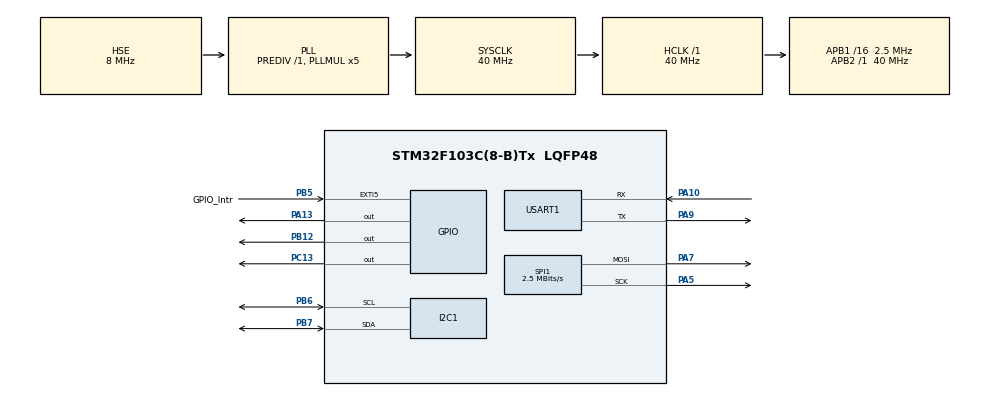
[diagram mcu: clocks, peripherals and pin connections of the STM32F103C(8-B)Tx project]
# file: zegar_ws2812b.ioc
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Mcu.Family=STM32F1
Mcu.Name=STM32F103C(8-B)Tx
Mcu.Package=LQFP48
NVIC.EXTI9_5_IRQn=true\:0\:0\:false\:false\:true\:true
NVIC.I2C1_EV_IRQn=true\:0\:0\:false\:false\:true\:true
NVIC.PriorityGroup=NVIC_PRIORITYGROUP_4
NVIC.SPI1_IRQn=true\:0\:0\:false\:false\:true\:true
NVIC.USART1_IRQn=true\:0\:0\:false\:false\:true\:true
PA10.Mode=Asynchronous
PA10.Signal=USART1_RX
PA13.GPIO_ModeDefaultOutputPP=GPIO_MODE_OUTPUT_OD
PA13.GPIO_Speed=GPIO_SPEED_FREQ_HIGH
PA13.Signal=GPIO_Output
PA5.Mode=TX_Only_Simplex_Unidirect_Master
PA5.Signal=SPI1_SCK
PA7.Mode=TX_Only_Simplex_Unidirect_Master
PA7.Signal=SPI1_MOSI
PA9.GPIO_Mode=GPIO_MODE_AF_PP
PA9.GPIO_Speed=GPIO_SPEED_FREQ_LOW
PA9.Mode=Asynchronous
PA9.Signal=USART1_TX
PB12.GPIO_ModeDefaultOutputPP=GPIO_MODE_OUTPUT_OD
PB12.GPIO_Speed=GPIO_SPEED_FREQ_HIGH
PB12.Signal=GPIO_Output
PB5.GPIO_Label=GPIO_Intr
PB5.GPIO_ModeDefaultEXTI=GPIO_MODE_IT_RISING_FALLING
PB5.GPIO_PuPd=GPIO_NOPULL
PB5.Signal=GPXTI5
PB6.GPIO_Mode=GPIO_MODE_AF_OD
PB6.GPIO_Speed=GPIO_SPEED_FREQ_HIGH
PB6.Mode=I2C
PB6.Signal=I2C1_SCL
PB7.GPIO_Mode=GPIO_MODE_AF_OD
PB7.GPIO_Speed=GPIO_SPEED_FREQ_HIGH
PB7.Mode=I2C
PB7.Signal=I2C1_SDA
PC13-TAMPER-RTC.Signal=GPIO_Output
PD0-OSC_IN.Mode=HSE-External-Oscillator
PD0-OSC_IN.Signal=RCC_OSC_IN
PD1-OSC_OUT.Mode=HSE-External-Oscillator
PD1-OSC_OUT.Signal=RCC_OSC_OUT
ProjectManager.HeapSize=0x200
ProjectManager.StackSize=0x400
ProjectManager.TargetToolchain=SW4STM32
RCC.AHBFreq_Value=40000000
RCC.APB1CLKDivider=RCC_HCLK_DIV16
RCC.APB1Freq_Value=2500000
RCC.APB1TimFreq_Value=5000000
RCC.APB2Freq_Value=40000000
RCC.APB2TimFreq_Value=40000000
RCC.HCLKFreq_Value=40000000
RCC.LSE_VALUE=32768
RCC.PLLMUL=RCC_PLL_MUL5
RCC.PLLSourceVirtual=RCC_PLLSOURCE_HSE
RCC.RTCClockSelection=RCC_RTCCLKSOURCE_LSE
RCC.SYSCLKFreq_VALUE=40000000
RCC.SYSCLKSource=RCC_SYSCLKSOURCE_PLLCLK
RCC.USBFreq_Value=40000000
SPI1.BaudRatePrescaler=SPI_BAUDRATEPRESCALER_16
SPI1.CalculateBaudRate=2.5 MBits/s
SPI1.Direction=SPI_DIRECTION_2LINES
SPI1.Mode=SPI_MODE_MASTER
SPI1.VirtualType=VM_MASTER
USART1.Parity=PARITY_EVEN
USART1.VirtualMode=VM_ASYNC
USART1.WordLength=WORDLENGTH_9B
VP_SYS_VS_ND.Mode=No_Debug
board=custom

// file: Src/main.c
/**
  ******************************************************************************
  * @file           : main.c
  * @brief          : Main program body
  ******************************************************************************
  ** This notice applies to any and all portions of this file
  * that are not between comment pairs USER CODE BEGIN and
  * USER CODE END. Other portions of this file, whether
  * inserted by the user or by software development tools
  * are owned by their respective copyright owners.
  *
  * COPYRIGHT(c) 2020 STMicroelectronics
  *
  * Redistribution and use in source and binary forms, with or without modification,
  * are permitted provided that the following conditions are met:
  *   1. Redistributions of source code must retain the above copyright notice,
  *      this list of conditions and the following disclaimer.
  *   2. Redistributions in binary form must reproduce the above copyright notice,
  *      this list of conditions and the following disclaimer in the documentation
  *      and/or other materials provided with the distribution.
  *   3. Neither the name of STMicroelectronics nor the names of its contributors
  *      may be used to endorse or promote products derived from this software
  *      without specific prior written permission.
  *
  * THIS SOFTWARE IS PROVIDED BY THE COPYRIGHT HOLDERS AND CONTRIBUTORS "AS IS"
  * AND ANY EXPRESS OR IMPLIED WARRANTIES, INCLUDING, BUT NOT LIMITED TO, THE
  * IMPLIED WARRANTIES OF MERCHANTABILITY AND FITNESS FOR A PARTICULAR PURPOSE ARE
  * DISCLAIMED. IN NO EVENT SHALL THE COPYRIGHT HOLDER OR CONTRIBUTORS BE LIABLE
  * FOR ANY DIRECT, INDIRECT, INCIDENTAL, SPECIAL, EXEMPLARY, OR CONSEQUENTIAL
  * DAMAGES (INCLUDING, BUT NOT LIMITED TO, PROCUREMENT OF SUBSTITUTE GOODS OR
  * SERVICES; LOSS OF USE, DATA, OR PROFITS; OR BUSINESS INTERRUPTION) HOWEVER
  * CAUSED AND ON ANY THEORY OF LIABILITY, WHETHER IN CONTRACT, STRICT LIABILITY,
  * OR TORT (INCLUDING NEGLIGENCE OR OTHERWISE) ARISING IN ANY WAY OUT OF THE USE
  * OF THIS SOFTWARE, EVEN IF ADVISED OF THE POSSIBILITY OF SUCH DAMAGE.
  *
  ******************************************************************************
  */
#include "main.h"
#include "stm32f1xx_hal.h"

/* USER CODE BEGIN Includes */
#include "stm_dht22.h"
#include <math.h>
#define WIDTH 5
#define HEIGHT 9
#define NUM_OF_MOD 4
/* USER CODE END Includes */

I2C_HandleTypeDef hi2c1;

SPI_HandleTypeDef hspi1;

UART_HandleTypeDef huart1;

/* USER CODE BEGIN PV */
/* Private variables ---------------------------------------------------------*/
uint8_t mode = 1;
uint8_t Przetworzoned = 1;
uint8_t buffer[WIDTH*HEIGHT*NUM_OF_MOD*24];
//uint8_t zero = 0b11100000;
//uint8_t one = 0b11111000;
uint8_t zero = 0b100;
uint8_t one = 0b110;
uint8_t jx = 0;
uint8_t wh = 1;
uint8_t hours;
uint8_t minutes;
uint8_t i2cbuf[3] = {0xFF, 0x06, 0x80};
uint8_t i2cbuf1 = 0x00;
uint8_t i2cbuf2 = 0xFF;
uint8_t i2cbuf3 = 0x06;
uint8_t i2cbufmin = 0x38;
uint8_t i2cbufh = 0x20;
uint8_t started = 0;
uint8_t intr = 0;
uint8_t klikacz = 0;
uint8_t klikaczToggle = 0;
char *godzina;
char str[4];
double bright = 1;
double globH = 0;
double globS = 1;
double globV = 0.05;
uint8_t Received[6] = {'0', '0', '0', '0', '0', '0'};
uint8_t rrr;
const uint8_t font[] = {
		0, 0, 0, 0, 0, 0, 0, 0, 0, // space
		4, 4, 4, 4, 0, 0, 4, 0, 0, // "!"
		10, 10, 10, 0, 0, 0, 0, 0, 0, // " " "
		10, 10, 31, 10, 31, 10, 10, 0, 0, // "#"
		4, 15, 20, 14, 5, 30, 4, 0, 0, // "$"
		24, 25, 2, 4, 8, 19, 3, 0, 0, // "%"
		12, 18, 20, 8, 21, 18, 13, 0, 0, // "&"
		12, 4, 8, 0, 0, 0, 0, 0, 0, // "'"
		2, 4, 8, 8, 8, 4, 2, 0, 0, // "("
		8, 4, 2, 2, 2, 4, 8, 0, 0, // ")"
		0, 4, 21, 14, 21, 4, 0, 0, 0, // "*"
		0, 4, 4, 31, 4, 4, 0, 0, 0, // "+"
		0, 0, 0, 0, 12, 4, 8, 0, 0, // ","
		0, 0, 0, 31, 0, 0, 0, 0, 0, // "-"
		0, 0, 0, 0, 0, 12, 12, 0, 0, // "."
		0, 1, 2, 4, 8, 16, 0, 0, 0, // "/"
		14, 17, 19, 21, 25, 17, 14, 0, 0, // "0"
		4, 12, 4, 4, 4, 4, 14, 0, 0, // "1"
		14, 17, 1, 2, 4, 8, 31, 0, 0, // "2"
		31, 2, 4, 2, 1, 17, 14, 0, 0, // "3"
		2, 6, 10, 18, 31, 2, 2, 0, 0, // "4"
		31, 16, 30, 1, 1, 17, 14, 0, 0, // "5"
		6, 8, 16, 30, 17, 17, 14, 0, 0, // "6"
		31, 1, 2, 4, 8, 8, 8, 0, 0, // "7"
		14, 17, 17, 14, 17, 17, 14, 0, 0, // "8"
		14, 17, 17, 15, 1, 2, 12, 0, 0, // "9"
		31, 31, 31, 31, 31, 31, 31, 0, 0, // fill 26, 58
		12, 18, 18, 12, 0, 0, 0, 0, 0, //degree 27, 59
		14, 17, 16, 16, 16, 17, 14, 0, 0//"C" 28, 60
};
/* USER CODE END PV */

void SystemClock_Config(void);
static void MX_GPIO_Init(void);
static void MX_SPI1_Init(void);
static void MX_USART1_UART_Init(void);
static void MX_I2C1_Init(void);

/* USER CODE BEGIN PFP */
/* Private function prototypes -----------------------------------------------*/
void ustawbufor (uint8_t led, uint8_t red, uint8_t green, uint8_t blue);
void wyslij();
int ledpos(uint8_t x, uint8_t y, uint8_t m);
void printchar(uint8_t chr, uint8_t m);
void printstring(char *str);
void getRTC(char *str);
void czyscbufor();
void przejscie1(double h, double s, double v, char *oldstr, char *newstr);
void fill(double h, double s, double v);
void send_string(char* s);
struct RGB
{
	unsigned char R;
	unsigned char G;
	unsigned char B;
};

struct HSV
{
	double H;
	double S;
	double V;
};

struct RGB HSVToRGB(struct HSV hsv) {
	double r = 0, g = 0, b = 0;

	if (hsv.S == 0)
	{
		r = hsv.V;
		g = hsv.V;
		b = hsv.V;
	}
	else
	{
		int i;
		double f, p, q, t;
		if (hsv.H > 360)
			hsv.H = hsv.H - 360;
		if (hsv.H == 360)
			hsv.H = 0;
		else
			hsv.H = hsv.H / 60;

		i = (int)trunc(hsv.H);
		f = hsv.H - i;

		p = hsv.V * (1.0 - hsv.S);
		q = hsv.V * (1.0 - (hsv.S * f));
		t = hsv.V * (1.0 - (hsv.S * (1.0 - f)));

		switch (i)
		{
		case 0:
			r = hsv.V;
			g = t;
			b = p;
			break;

		case 1:
			r = q;
			g = hsv.V;
			b = p;
			break;

		case 2:
			r = p;
			g = hsv.V;
			b = t;
			break;

		case 3:
			r = p;
			g = q;
			b = hsv.V;
			break;

		case 4:
			r = t;
			g = p;
			b = hsv.V;
			break;

		default:
			r = hsv.V;
			g = p;
			b = q;
			break;
		}

	}

	struct RGB rgb;
	rgb.R = r * 255;
	rgb.G = g * 255;
	rgb.B = b * 255;

	return rgb;
}
void HAL_GPIO_EXTI_Callback(uint16_t GPIO_Pin){
	if (GPIO_Pin == GPIO_Intr_Pin){
		//intr = 1;
	}
}
void HAL_UART_RxCpltCallback(UART_HandleTypeDef *huart){

	if(Przetworzoned <= Received[1] && Received[0] == 0){
	Przetworzoned = Received[1] + 1;
	}else if(Received[0] == 1){
	send_string("STM32F103C8T6");
		uint8_t aaaaaaaa[] = { 's', 't','m'};
	HAL_UART_Transmit(&huart1, aaaaaaaa, 3, 1000);
	}else if(Received[0] == 2){
		mode = Received[1];
	}else if(Received[0] == 3){
		float rcv = Received[1];
		globV = rcv * 0.01;
	}

		HAL_UART_Receive_IT(&huart1, &rrr, 1);
}
/* USER CODE END PFP */

int main(void)
{

  /* MCU Configuration----------------------------------------------------------*/

  /* Reset of all peripherals, Initializes the Flash interface and the Systick. */
  HAL_Init();

  /* Configure the system clock */
  SystemClock_Config();

  /* Initialize all configured peripherals */
  MX_GPIO_Init();
  MX_SPI1_Init();
  MX_USART1_UART_Init();
  MX_I2C1_Init();
  /* USER CODE BEGIN 2 */
  //DWT_COUNTER_ENABLE();
  HAL_I2C_Mem_Write(&hi2c1, 0xD0, 0x0B, 1, &i2cbuf2, 1, 1000);
  HAL_I2C_Mem_Write(&hi2c1, 0xD0, 0x0C, 1, &i2cbuf2, 1, 1000);
  HAL_I2C_Mem_Write(&hi2c1, 0xD0, 0x0D, 1, &i2cbuf2, 1, 1000);
  HAL_I2C_Mem_Write(&hi2c1, 0xD0, 0x0E, 1, &i2cbuf3, 1, 1000);
  HAL_I2C_Mem_Write(&hi2c1, 0xD0, 0x0F, 1, &i2cbuf1, 1, 1000);
// HAL_I2C_Mem_Write(&hi2c1, 0xD0, 0x01, 1, &i2cbufmin, 1, 1000);
 // HAL_I2C_Mem_Write(&hi2c1, 0xD0, 0x02, 1, &i2cbufh, 1, 1000);
  getRTC(&str);
  for(uint8_t j = 0; j<180; j++){
		  struct HSV data = { 0, globS, globV};
		  struct RGB value = HSVToRGB(data);
		  ustawbufor(j, value.R, value.G, value.B);

  }
  DWT_COUNTER_ENABLE();
 uint8_t rawReadedData[5];
 Dht22_ReadedData_T DHTReadData;

 Dht22_Initial();
char put[5];
char putt[5];
int abcc;
int abccc;

		if(Dht22_ReadData(rawReadedData, sizeof(rawReadedData)))
 		{
 			float abc = Dht22_calculateTemperature(rawReadedData[2], rawReadedData[1]);
 			abcc = (int)abc;
 			snprintf(put, 5, "%d%c%c", abcc, 59, 60);
 		}
  printstring(put);
  wyslij();
  HAL_Delay(2000);
  started = 1;
  HAL_UART_Receive_IT(&huart1, &Received, 2);

  /* USER CODE END 2 */

  /* Infinite loop */
  /* USER CODE BEGIN WHILE */
  while (1)
  {

//	  HAL_Delay(1000);
//	  HAL_UART_Transmit(&huart1, (uint8_t*)data, strlen(data), 1000);

//	  for (uint8_t i = 0; i < 359; i++){
//		  for(uint8_t j = 0; j < 5; j++){
//			  for(uint8_t k = 0; k < 4; k++){
//				  struct HSV data = { i+((j+k)*6), 1, bright};
//				  struct RGB value = HSVToRGB(data);
//				  ustawbufor(ledpos(j, 0, k), value.R, value.G, value.B);
//			  }
//		  }
//		  wyslij();
//	  }
if (mode){
	/*if(1){
		HAL_I2C_Mem_Write(&hi2c1, 0xD0, 0x0F, 1, &i2cbuf1, 1, 1000);
			  	char newStr[4];
			  	getRTC(&newStr);
			  	przejscie1(globH, globS, globV, &str, &newStr);
			  	intr = 0;

	}*/
	if(Dht22_ReadData(rawReadedData, sizeof(rawReadedData)))
		{
			char pute[5];
			float abc = Dht22_calculateTemperature(rawReadedData[2], rawReadedData[1]);
			abcc = (int)abc;
			snprintf(pute, 5, "%d%c%c", abcc, 59, 60);
			//HAL_UART_Transmit(&huart1, (uint8_t*)pute, strlen(pute), 1000);
			przejscie1(globH, globS, globV, &str, &pute);
			snprintf(pute, 5, "T%d", abcc);
			send_string(pute);
		}
for(globH = 0; globH<360; globH += 1){

	if(globV>0.02){
	  for(uint8_t j = 0; j<180; j++){
			  struct HSV data = { globH, globS, globV};
			  struct RGB value = HSVToRGB(data);
			  ustawbufor(j, value.R, value.G, value.B);

	  }
	}
	else
	{
		  for(uint8_t j = 0; j<180; j++){
				  ustawbufor(j, 1, 0, 0);

		  }

	}
	  printstring(str);
	  /*if(klikacz<20){
		  struct HSV data = { globH, globS, 0};
		  struct RGB value = HSVToRGB(data);
		  ustawbufor(ledpos(0, 7, 2), value.R, value.G, value.B);
	  }else{
		  struct HSV data = { globH, globS, globV};
		  struct RGB value = HSVToRGB(data);
		  ustawbufor(ledpos(0, 7, 2), value.R, value.G, value.B);
		  if(klikacz>40)klikacz=0;
	  }
	  klikacz++;*/
	  wyslij();
	  if (intr){
	  	HAL_I2C_Mem_Write(&hi2c1, 0xD0, 0x0F, 1, &i2cbuf1, 1, 1000);
	  	char newStr[4];
	  	getRTC(&newStr);
	  	przejscie1(globH, globS, globV, &str, &newStr);
	  	intr = 0;
	  }
}

if(Dht22_ReadData(rawReadedData, sizeof(rawReadedData)))
	{
		char pute[5];
		float abc = Dht22_calculateHumidity(rawReadedData[4], rawReadedData[3]);
		abcc = (int)abc;
		snprintf(pute, 5, "%d%c%c", abcc, 37, 32);
		przejscie1(globH, globS, globV, &str, &pute);
		snprintf(pute, 5, "H%d", abcc);
		send_string(pute);
	}
for(globH = 0; globH<360; globH += 1){

	if(globV>0.02){
	  for(uint8_t j = 0; j<180; j++){
			  struct HSV data = { globH, globS, globV};
			  struct RGB value = HSVToRGB(data);
			  ustawbufor(j, value.R, value.G, value.B);

	  }
	}
	else
	{
		  for(uint8_t j = 0; j<180; j++){
				  ustawbufor(j, 1, 0, 0);

		  }

	}
	  printstring(str);
	  wyslij();

}

}
else
{
	  if(Przetworzoned > 0){
		  //jx++;
		 // if(jx == 3){
			  Przetworzoned--;
			//  jx=0;
		 // }
		  struct HSV data = { 100-Przetworzoned, globS, globV};
		  struct RGB value = HSVToRGB(data);
		  for (int i = 0; i<180; i++){
		  ustawbufor(i, value.R, value.G, value.B);
		  }
		  printstring(str);
		  wyslij();
		  if (intr){
		  	HAL_I2C_Mem_Write(&hi2c1, 0xD0, 0x0F, 1, &i2cbuf1, 1, 1000);
		  	char newStr[4];
		  	getRTC(&str);
		  	intr = 0;
}
	  }
}
  }
}

//	  for(uint8_t i = 0; i < 180; i++){
//		  struct HSV data = { i, 1, bright};
//		  struct RGB value = HSVToRGB(data);
//		  ustawbufor(i, value.R, value.G, value.B);
//	  }
//		  wyslij();
//	  for(uint8_t i = 0; i<360; i++){
//		  for(uint8_t k = 0; k < 9; k++){
//		  for(uint8_t j = 0; j<180; j++){
//				  struct HSV data = { i, 1, 0.3};
//				  struct RGB value = HSVToRGB(data);
//				  ustawbufor(j, value.R, value.G, value.B);
//
//		  }
//		 // printchar((hours & 15)+16, 0);
//		 // printchar((hours >> 4)+16, 1);
//		 // printchar((minutes & 15)+16, 2);
//		 // printchar(((minutes >> 4) & 3)+16, 3);
//		  printstring(str);
//		  wyslij();
//	  }
//	  }
  /* USER CODE END WHILE */

void SystemClock_Config(void)
{

  RCC_OscInitTypeDef RCC_OscInitStruct;
  RCC_ClkInitTypeDef RCC_ClkInitStruct;

    /**Initializes the CPU, AHB and APB busses clocks
    */
  RCC_OscInitStruct.OscillatorType = RCC_OSCILLATORTYPE_HSE;
  RCC_OscInitStruct.HSEState = RCC_HSE_ON;
  RCC_OscInitStruct.HSEPredivValue = RCC_HSE_PREDIV_DIV1;
  RCC_OscInitStruct.HSIState = RCC_HSI_ON;
  RCC_OscInitStruct.PLL.PLLState = RCC_PLL_ON;
  RCC_OscInitStruct.PLL.PLLSource = RCC_PLLSOURCE_HSE;
  RCC_OscInitStruct.PLL.PLLMUL = RCC_PLL_MUL5;
  if (HAL_RCC_OscConfig(&RCC_OscInitStruct) != HAL_OK)
  {
    _Error_Handler(__FILE__, __LINE__);
  }

    /**Initializes the CPU, AHB and APB busses clocks
    */
  RCC_ClkInitStruct.ClockType = RCC_CLOCKTYPE_HCLK|RCC_CLOCKTYPE_SYSCLK
                              |RCC_CLOCKTYPE_PCLK1|RCC_CLOCKTYPE_PCLK2;
  RCC_ClkInitStruct.SYSCLKSource = RCC_SYSCLKSOURCE_PLLCLK;
  RCC_ClkInitStruct.AHBCLKDivider = RCC_SYSCLK_DIV1;
  RCC_ClkInitStruct.APB1CLKDivider = RCC_HCLK_DIV16;
  RCC_ClkInitStruct.APB2CLKDivider = RCC_HCLK_DIV1;

  if (HAL_RCC_ClockConfig(&RCC_ClkInitStruct, FLASH_LATENCY_1) != HAL_OK)
  {
    _Error_Handler(__FILE__, __LINE__);
  }

    /**Configure the Systick interrupt time
    */
  HAL_SYSTICK_Config(HAL_RCC_GetHCLKFreq()/1000);

    /**Configure the Systick
    */
  HAL_SYSTICK_CLKSourceConfig(SYSTICK_CLKSOURCE_HCLK);

  /* SysTick_IRQn interrupt configuration */
  HAL_NVIC_SetPriority(SysTick_IRQn, 0, 0);
}

/* I2C1 init function */
static void MX_I2C1_Init(void)
{

  hi2c1.Instance = I2C1;
  hi2c1.Init.ClockSpeed = 100000;
  hi2c1.Init.DutyCycle = I2C_DUTYCYCLE_2;
  hi2c1.Init.OwnAddress1 = 0;
  hi2c1.Init.AddressingMode = I2C_ADDRESSINGMODE_7BIT;
  hi2c1.Init.DualAddressMode = I2C_DUALADDRESS_DISABLE;
  hi2c1.Init.OwnAddress2 = 0;
  hi2c1.Init.GeneralCallMode = I2C_GENERALCALL_DISABLE;
  hi2c1.Init.NoStretchMode = I2C_NOSTRETCH_DISABLE;
  if (HAL_I2C_Init(&hi2c1) != HAL_OK)
  {
    _Error_Handler(__FILE__, __LINE__);
  }

}

/* SPI1 init function */
static void MX_SPI1_Init(void)
{

  /* SPI1 parameter configuration*/
  hspi1.Instance = SPI1;
  hspi1.Init.Mode = SPI_MODE_MASTER;
  hspi1.Init.Direction = SPI_DIRECTION_2LINES;
  hspi1.Init.DataSize = SPI_DATASIZE_8BIT;
  hspi1.Init.CLKPolarity = SPI_POLARITY_LOW;
  hspi1.Init.CLKPhase = SPI_PHASE_1EDGE;
  hspi1.Init.NSS = SPI_NSS_SOFT;
  hspi1.Init.BaudRatePrescaler = SPI_BAUDRATEPRESCALER_16;
  hspi1.Init.FirstBit = SPI_FIRSTBIT_MSB;
  hspi1.Init.TIMode = SPI_TIMODE_DISABLE;
  hspi1.Init.CRCCalculation = SPI_CRCCALCULATION_DISABLE;
  hspi1.Init.CRCPolynomial = 10;
  if (HAL_SPI_Init(&hspi1) != HAL_OK)
  {
    _Error_Handler(__FILE__, __LINE__);
  }

}

/* USART1 init function */
static void MX_USART1_UART_Init(void)
{

  huart1.Instance = USART1;
  huart1.Init.BaudRate = 115200;
  huart1.Init.WordLength = UART_WORDLENGTH_9B;
  huart1.Init.StopBits = UART_STOPBITS_1;
  huart1.Init.Parity = UART_PARITY_EVEN;
  huart1.Init.Mode = UART_MODE_TX_RX;
  huart1.Init.HwFlowCtl = UART_HWCONTROL_NONE;
  huart1.Init.OverSampling = UART_OVERSAMPLING_16;
  if (HAL_UART_Init(&huart1) != HAL_OK)
  {
    _Error_Handler(__FILE__, __LINE__);
  }

}

/** Configure pins as
        * Analog
        * Input
        * Output
        * EVENT_OUT
        * EXTI
*/
static void MX_GPIO_Init(void)
{

  GPIO_InitTypeDef GPIO_InitStruct;

  /* GPIO Ports Clock Enable */
  __HAL_RCC_GPIOC_CLK_ENABLE();
  __HAL_RCC_GPIOD_CLK_ENABLE();
  __HAL_RCC_GPIOA_CLK_ENABLE();
  __HAL_RCC_GPIOB_CLK_ENABLE();

  /*Configure GPIO pin Output Level */
  HAL_GPIO_WritePin(GPIOC, GPIO_PIN_13, GPIO_PIN_RESET);

  /*Configure GPIO pin Output Level */
  HAL_GPIO_WritePin(GPIOB, GPIO_PIN_12, GPIO_PIN_RESET);

  /*Configure GPIO pin Output Level */
  HAL_GPIO_WritePin(GPIOA, GPIO_PIN_13, GPIO_PIN_RESET);

  /*Configure GPIO pin : PC13 */
  GPIO_InitStruct.Pin = GPIO_PIN_13;
  GPIO_InitStruct.Mode = GPIO_MODE_OUTPUT_PP;
  GPIO_InitStruct.Pull = GPIO_NOPULL;
  GPIO_InitStruct.Speed = GPIO_SPEED_FREQ_LOW;
  HAL_GPIO_Init(GPIOC, &GPIO_InitStruct);

  /*Configure GPIO pin : PB12 */
  GPIO_InitStruct.Pin = GPIO_PIN_12;
  GPIO_InitStruct.Mode = GPIO_MODE_OUTPUT_OD;
  GPIO_InitStruct.Pull = GPIO_NOPULL;
  GPIO_InitStruct.Speed = GPIO_SPEED_FREQ_HIGH;
  HAL_GPIO_Init(GPIOB, &GPIO_InitStruct);

  /*Configure GPIO pin : PA13 */
  GPIO_InitStruct.Pin = GPIO_PIN_13;
  GPIO_InitStruct.Mode = GPIO_MODE_OUTPUT_OD;
  GPIO_InitStruct.Pull = GPIO_NOPULL;
  GPIO_InitStruct.Speed = GPIO_SPEED_FREQ_HIGH;
  HAL_GPIO_Init(GPIOA, &GPIO_InitStruct);

  /*Configure GPIO pin : GPIO_Intr_Pin */
  GPIO_InitStruct.Pin = GPIO_Intr_Pin;
  GPIO_InitStruct.Mode = GPIO_MODE_IT_RISING_FALLING;
  GPIO_InitStruct.Pull = GPIO_NOPULL;
  HAL_GPIO_Init(GPIO_Intr_GPIO_Port, &GPIO_InitStruct);

  /* EXTI interrupt init*/
  HAL_NVIC_SetPriority(EXTI9_5_IRQn, 0, 0);
  HAL_NVIC_EnableIRQ(EXTI9_5_IRQn);

}

/* USER CODE BEGIN 4 */
void ustawbufor (uint8_t led, uint8_t red, uint8_t green, uint8_t blue){
	    for (int i = 0; i <8; i++)
	    {
	    	  if (green & (1 << i)) {
	    		  buffer[led*24+7-i] = one;
	    	  }else{
	    		  buffer[led*24+7-i] = zero;
	    	  }
	    }
	for (int i = 0; i <8; i++)
	{
		  if (red & (1 << i)) {
			  buffer[led*24+15-i] = one;
		  }else{
			  buffer[led*24+15-i] = zero;
		  }
	}
	for (int i = 0; i <8; i++)
	{
		  if (blue & (1 << i)) {
			  buffer[led*24+23-i] = one;
		  }else{
			  buffer[led*24+23-i] = zero;
		  }
	}

}

void wyslij(){
    HAL_SPI_Transmit(&hspi1, &buffer, WIDTH*HEIGHT*NUM_OF_MOD*24, 1000);
    HAL_SPI_Transmit(&hspi1, 0b11111111, 1, 1000);

}

void czyscbufor(){
    for(int i = 0; i < WIDTH*HEIGHT*NUM_OF_MOD*24; i++){
  	  buffer[i] = zero;
    }
}

int ledpos(uint8_t x, uint8_t y, uint8_t m){

return((x+(WIDTH*m))+(y*WIDTH*NUM_OF_MOD));
}
void printchar(uint8_t chr, uint8_t m){

	for(uint8_t y = 0; y<9; y++){
		for(uint8_t i = 0; i<5; i++){
		  if (~font[(chr*9)+y] & (1 << i)) {
				ustawbufor(ledpos(i, y, m), 0, 0, 0);
		  }
		}
	}
}

void printstring(char *str){
	for (uint8_t i = 0; i < 4; i++){
		printchar(str[i]-32, 3-i);
	}
}

void getRTC(char *str){
	uint8_t hr;
	uint8_t mm;
	HAL_I2C_Mem_Read(&hi2c1, 0xD0, 0x02, 1, &hr, 1, 1000);
	HAL_I2C_Mem_Read(&hi2c1, 0xD0, 0x01, 1, &mm, 1, 1000);
	snprintf(str, 5, "%d%d%d%d", (((hr >> 4) & 3)), ((hr & 15)), ((mm >> 4)), ((mm & 15)));
	 // printchar((hours & 15)+16, 0);
	 // printchar((hours >> 4)+16, 1);
	 // printchar((minutes & 15)+16, 2);
	 // printchar(((minutes >> 4) & 3)+16, 3);
}

void przejscie1(double h, double s, double v, char *oldstr, char *newstr){
	uint8_t strdiff[4];
	double blind = 0.00;
	for (uint8_t i = 0; i < NUM_OF_MOD; i++){
		if(oldstr[i] != newstr[i]){
			strdiff[NUM_OF_MOD-1-i] = 1;
		}else{
			strdiff[NUM_OF_MOD-1-i] = 0;
		}
	}
	  for(uint8_t i = 0; i<v*100; i++){
		  struct HSV data = { h, s, v-blind};
		  struct RGB value = HSVToRGB(data);
		  for(uint8_t l = 0; l<4; l++){
		  if(strdiff[l]==1){
		  for(uint8_t j = 0; j<5; j++){
			  for(uint8_t k = 0; k<7; k++){
				  ustawbufor(ledpos(j, k, l), value.R, value.G, value.B);
			  }
		  }
		  }
		  }
		  blind = blind + 0.01;
		  printstring(oldstr);
		  wyslij();
	  }
	  blind = 0.00;
	  strcpy(oldstr, newstr);
	  for(uint8_t i = 0; i<v*100; i++){
		  struct HSV data = { h, s, 0.0+blind};
		  struct RGB value = HSVToRGB(data);
		  for(uint8_t l = 0; l<4; l++){
		  if(strdiff[l]==1){
		  for(uint8_t j = 0; j<5; j++){
			  for(uint8_t k = 0; k<7; k++){

				  ustawbufor(ledpos(j, k, l), value.R, value.G, value.B);
				  }
			  }
		  }
		  }
		  blind = blind + 0.01;
		  printstring(newstr);
		  wyslij();
	  }
}

void send_string(char* s)
{
	HAL_UART_Transmit(&huart1, (uint8_t*)s, strlen(s), 1000);
}

//void wejscie1(double h, double s, double v, uint8_t m, char *str){
//	  double blind = 0.0;
//	  for(uint8_t i = 0; i<v*100+1; i++){
//		  struct HSV data = { 0, 1, 0.0+blind};
//		  struct RGB value = HSVToRGB(data);
//		  for(uint8_t j = 0; j<5; j++){
//			  for(uint8_t k = 0; k<7; k++){
//				  ustawbufor(ledpos(j, k, m), value.R, value.G, value.B);
//			  }
//		  }
//		  blind = blind + 0.01;
//		  printstring(str);
//		  wyslij();
//	  }
//
//}
void fill(double h, double s, double v){
	  struct HSV data = { h, s, v};
	  struct RGB value = HSVToRGB(data);
	  for(uint8_t j = 0; j<180; j++){
		  	  ustawbufor(j, value.R, value.G, value.B);

	  }
}
/* USER CODE END 4 */

void _Error_Handler(char *file, int line)
{
  while(1)
  {
  }
}

/************************ (C) COPYRIGHT STMicroelectronics *****END OF FILE****/
